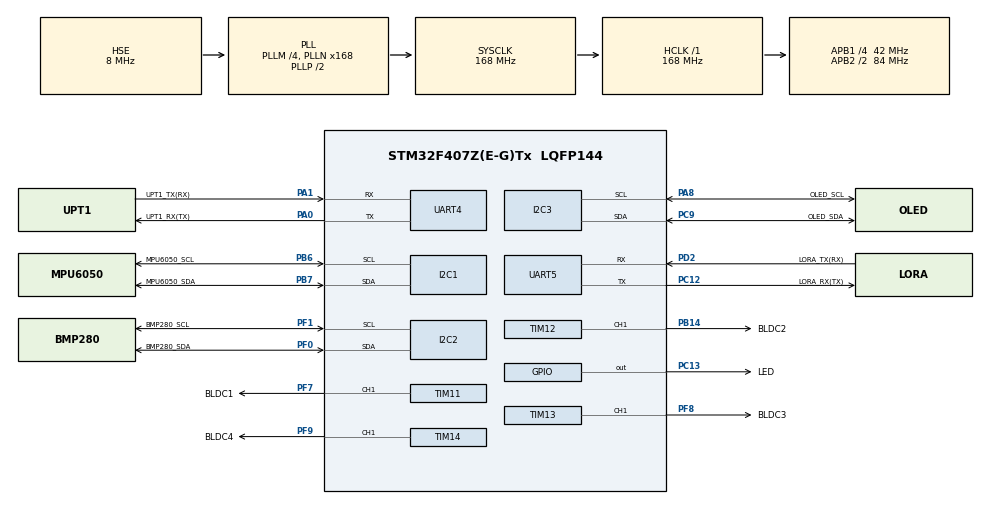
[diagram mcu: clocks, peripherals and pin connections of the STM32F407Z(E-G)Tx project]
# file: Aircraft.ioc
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I2C1.I2C_Mode=I2C_Fast
I2C2.I2C_Mode=I2C_Fast
I2C3.DutyCycle=I2C_DUTYCYCLE_2
I2C3.I2C_Mode=I2C_Fast
Mcu.Family=STM32F4
Mcu.Name=STM32F407Z(E-G)Tx
Mcu.Package=LQFP144
NVIC.PriorityGroup=NVIC_PRIORITYGROUP_4
PA0-WKUP.GPIO_Label=UPT1_RX(TX)
PA0-WKUP.Mode=Asynchronous
PA0-WKUP.Signal=UART4_TX
PA1.GPIO_Label=UPT1_TX(RX)
PA1.Mode=Asynchronous
PA1.Signal=UART4_RX
PA13.Mode=Serial_Wire
PA13.Signal=SYS_JTMS-SWDIO
PA14.Mode=Serial_Wire
PA14.Signal=SYS_JTCK-SWCLK
PA8.GPIO_Label=OLED_SCL
PA8.Mode=I2C
PA8.Signal=I2C3_SCL
PB14.GPIO_Label=BLDC2
PB14.Signal=S_TIM12_CH1
PB6.GPIO_Label=MPU6050_SCL
PB6.Mode=I2C
PB6.Signal=I2C1_SCL
PB7.GPIO_Label=MPU6050_SDA
PB7.Mode=I2C
PB7.Signal=I2C1_SDA
PC12.GPIO_Label=LORA_RX(TX)
PC12.Mode=Asynchronous
PC12.Signal=UART5_TX
PC13-ANTI_TAMP.GPIO_Label=LED
PC13-ANTI_TAMP.PinState=GPIO_PIN_SET
PC13-ANTI_TAMP.Signal=GPIO_Output
PC14-OSC32_IN.Mode=LSE-External-Oscillator
PC14-OSC32_IN.Signal=RCC_OSC32_IN
PC15-OSC32_OUT.Mode=LSE-External-Oscillator
PC15-OSC32_OUT.Signal=RCC_OSC32_OUT
PC9.GPIO_Label=OLED_SDA
PC9.Mode=I2C
PC9.Signal=I2C3_SDA
PD2.GPIO_Label=LORA_TX(RX)
PD2.Mode=Asynchronous
PD2.Signal=UART5_RX
PF0.GPIO_Label=BMP280_SDA
PF0.GPIO_Speed=GPIO_SPEED_FREQ_VERY_HIGH
PF0.Mode=I2C
PF0.Signal=I2C2_SDA
PF1.GPIO_Label=BMP280_SCL
PF1.GPIO_Speed=GPIO_SPEED_FREQ_VERY_HIGH
PF1.Mode=I2C
PF1.Signal=I2C2_SCL
PF7.GPIO_Label=BLDC1
PF7.Signal=S_TIM11_CH1
PF8.GPIO_Label=BLDC3
PF8.Signal=S_TIM13_CH1
PF9.GPIO_Label=BLDC4
PF9.GPIO_Speed=GPIO_SPEED_FREQ_LOW
PF9.Signal=S_TIM14_CH1
PH0-OSC_IN.Mode=HSE-External-Oscillator
PH0-OSC_IN.Signal=RCC_OSC_IN
PH1-OSC_OUT.Mode=HSE-External-Oscillator
PH1-OSC_OUT.Signal=RCC_OSC_OUT
ProjectManager.HeapSize=0x200
ProjectManager.StackSize=0x400
ProjectManager.TargetToolchain=MDK-ARM V5.32
RCC.48MHZClocksFreq_Value=84000000
RCC.AHBFreq_Value=168000000
RCC.APB1CLKDivider=RCC_HCLK_DIV4
RCC.APB1Freq_Value=42000000
RCC.APB1TimFreq_Value=84000000
RCC.APB2CLKDivider=RCC_HCLK_DIV2
RCC.APB2Freq_Value=84000000
RCC.APB2TimFreq_Value=168000000
RCC.CortexFreq_Value=168000000
RCC.HCLKFreq_Value=168000000
RCC.HSE_VALUE=8000000
RCC.HSI_VALUE=16000000
RCC.PLLM=4
RCC.PLLN=168
RCC.PLLSourceVirtual=RCC_PLLSOURCE_HSE
RCC.SYSCLKFreq_VALUE=168000000
RCC.SYSCLKSource=RCC_SYSCLKSOURCE_PLLCLK
RCC.VCOOutputFreq_Value=336000000
SH.S_TIM11_CH1.0=TIM11_CH1,PWM Generation1 CH1
SH.S_TIM12_CH1.0=TIM12_CH1,PWM Generation1 CH1
SH.S_TIM13_CH1.0=TIM13_CH1,PWM Generation1 CH1
SH.S_TIM14_CH1.0=TIM14_CH1,PWM Generation1 CH1
TIM11.Channel=TIM_CHANNEL_1
TIM11.Period=20000-1
TIM11.Prescaler=168-1
TIM12.Channel-PWM\ Generation1\ CH1=TIM_CHANNEL_1
TIM12.Period=20000-1
TIM12.Prescaler=84-1
TIM13.Channel=TIM_CHANNEL_1
TIM13.Period=20000-1
TIM13.Prescaler=84-1
TIM14.Channel=TIM_CHANNEL_1
TIM14.Period=20000-1
TIM14.Prescaler=84-1
UART4.VirtualMode=Asynchronous
UART5.VirtualMode=Asynchronous
VP_TIM11_VS_ClockSourceINT.Mode=Enable_Timer
VP_TIM13_VS_ClockSourceINT.Mode=Enable_Timer
VP_TIM14_VS_ClockSourceINT.Mode=Enable_Timer
board=custom

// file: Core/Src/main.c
/* USER CODE BEGIN Header */
/**
  ******************************************************************************
  * @file           : main.c
  * @brief          : Main program body
  ******************************************************************************
  * @attention
  *
  * Copyright (c) 2024 STMicroelectronics.
  * All rights reserved.
  *
  * This software is licensed under terms that can be found in the LICENSE file
  * in the root directory of this software component.
  * If no LICENSE file comes with this software, it is provided AS-IS.
  *
  ******************************************************************************
  */
/* USER CODE END Header */
#include "main.h"
#include "i2c.h"
#include "tim.h"
#include "usart.h"
#include "gpio.h"

/* USER CODE BEGIN Includes */
#include "bldc.h"
#include "stdio.h"
#include "mpu6050.h"
#include "inv_mpu.h"
#include "inv_mpu_dmp_motion_driver.h"
#include "bmp280.h"
#include "oled.h"
#include "pid.h"
/* USER CODE END Includes */

/* USER CODE BEGIN PTD */
struct BMP280Sensor{
	float temp;
	float press;
	float high;
}BMP280Sensor;

struct Angle{
	float pitch;
	float roll;
	float yaw;
}Angle;
/* USER CODE END PTD */

/* USER CODE BEGIN PV */
uint16_t Speed = 1100;
uint8_t buffer[1];

PID *pid;
/* USER CODE END PV */

void SystemClock_Config(void);

int main(void)
{

  /* MCU Configuration--------------------------------------------------------*/

  /* Reset of all peripherals, Initializes the Flash interface and the Systick. */
  HAL_Init();

  /* Configure the system clock */
  SystemClock_Config();

  /* Initialize all configured peripherals */
  MX_GPIO_Init();
  MX_UART4_Init();
  MX_TIM14_Init();
  MX_I2C1_Init();
  MX_I2C2_Init();
  MX_I2C3_Init();
  MX_TIM11_Init();
  MX_TIM12_Init();
  MX_TIM13_Init();
  MX_UART5_Init();
  /* USER CODE BEGIN 2 */

//  BMP280_Init();
	HAL_TIM_PWM_Start(&htim11, TIM_CHANNEL_1);
	HAL_TIM_PWM_Start(&htim12, TIM_CHANNEL_1);
	HAL_TIM_PWM_Start(&htim13, TIM_CHANNEL_1);
	HAL_TIM_PWM_Start(&htim14, TIM_CHANNEL_1);
	PID_Init(pid);
	Motor_Init();
	HAL_GPIO_WritePin(GPIOC,GPIO_PIN_13,GPIO_PIN_RESET);
  /* USER CODE END 2 */

  /* Infinite loop */
  /* USER CODE BEGIN WHILE */
  while (1)
  {
		HAL_UART_Receive(&huart5, buffer, sizeof(buffer),1000);
		switch(buffer[0])
		{
			case 'q':Speed = Motor_Stop(Speed);buffer[0] = 0;break;
			case 'w':Speed = Motor_Rise(Speed);buffer[0] = 0;break;
			case 's':Speed = Motor_Down(Speed);buffer[0] = 0;break;
			case 'a':Motor_Left_Y(Speed);buffer[0] = 0;break;
			case 'd':Motor_Right_Y(Speed);buffer[0] = 0;break;
			case 'z':Motor_Left_Z(Speed);buffer[0] = 0;break;
			case 'x':Motor_Right_Z(Speed);buffer[0] = 0; break;
//			case '1':HAL_GPIO_WritePin(GPIOC,GPIO_PIN_13,GPIO_PIN_RESET);break;
//			case '0':HAL_GPIO_WritePin(GPIOC,GPIO_PIN_13,GPIO_PIN_SET);break;
			defult: Motor_Hanging(Speed);
		}
		HAL_Delay(10);
    /* USER CODE END WHILE */

  }
}

void SystemClock_Config(void)
{
  RCC_OscInitTypeDef RCC_OscInitStruct = {0};
  RCC_ClkInitTypeDef RCC_ClkInitStruct = {0};

  /** Configure the main internal regulator output voltage
  */
  __HAL_RCC_PWR_CLK_ENABLE();
  __HAL_PWR_VOLTAGESCALING_CONFIG(PWR_REGULATOR_VOLTAGE_SCALE1);

  /** Initializes the RCC Oscillators according to the specified parameters
  * in the RCC_OscInitTypeDef structure.
  */
  RCC_OscInitStruct.OscillatorType = RCC_OSCILLATORTYPE_HSE;
  RCC_OscInitStruct.HSEState = RCC_HSE_ON;
  RCC_OscInitStruct.PLL.PLLState = RCC_PLL_ON;
  RCC_OscInitStruct.PLL.PLLSource = RCC_PLLSOURCE_HSE;
  RCC_OscInitStruct.PLL.PLLM = 4;
  RCC_OscInitStruct.PLL.PLLN = 168;
  RCC_OscInitStruct.PLL.PLLP = RCC_PLLP_DIV2;
  RCC_OscInitStruct.PLL.PLLQ = 4;
  if (HAL_RCC_OscConfig(&RCC_OscInitStruct) != HAL_OK)
  {
    Error_Handler();
  }

  /** Initializes the CPU, AHB and APB buses clocks
  */
  RCC_ClkInitStruct.ClockType = RCC_CLOCKTYPE_HCLK|RCC_CLOCKTYPE_SYSCLK
                              |RCC_CLOCKTYPE_PCLK1|RCC_CLOCKTYPE_PCLK2;
  RCC_ClkInitStruct.SYSCLKSource = RCC_SYSCLKSOURCE_PLLCLK;
  RCC_ClkInitStruct.AHBCLKDivider = RCC_SYSCLK_DIV1;
  RCC_ClkInitStruct.APB1CLKDivider = RCC_HCLK_DIV4;
  RCC_ClkInitStruct.APB2CLKDivider = RCC_HCLK_DIV2;

  if (HAL_RCC_ClockConfig(&RCC_ClkInitStruct, FLASH_LATENCY_5) != HAL_OK)
  {
    Error_Handler();
  }
}

void HAL_TIM_PeriodElapsedCallback(TIM_HandleTypeDef *htim)
{
  if (htim->Instance == TIM6) {
    HAL_IncTick();
  }
}

void Error_Handler(void)
{
  __disable_irq();
  while (1)
  {
  }
}
